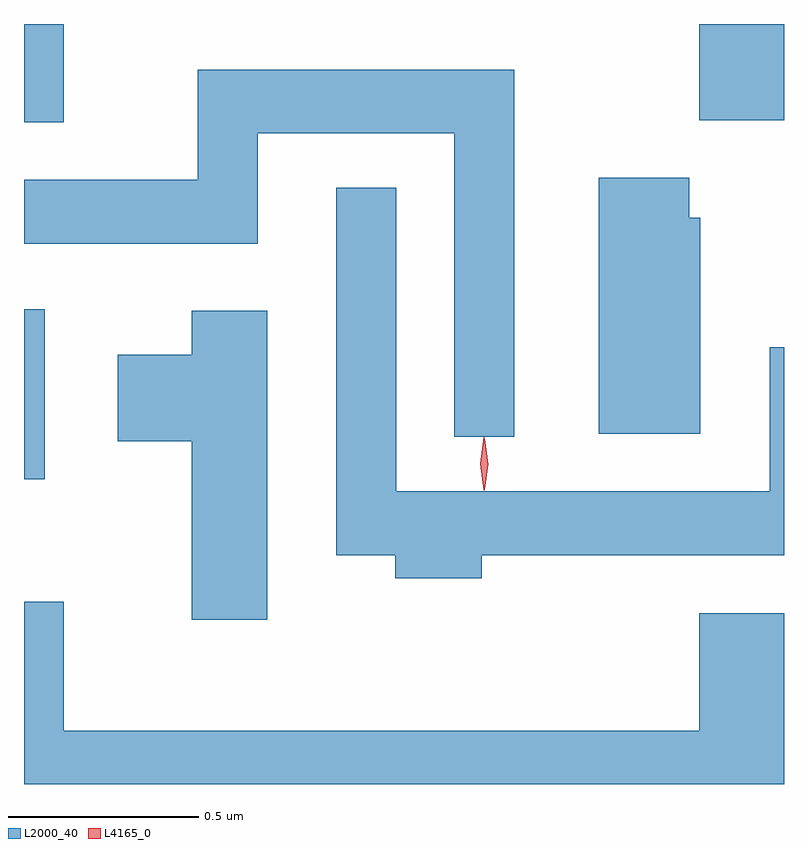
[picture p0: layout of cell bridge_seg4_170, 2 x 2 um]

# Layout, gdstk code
import gdstk
lib = gdstk.Library(unit=1e-6, precision=1e-09)
def R(c, l, rs):  # rectangles x0, y0, x1, y1
    for r in rs: c.add(gdstk.rectangle(r[:2], r[2:], *l))
def P(c, l, *ps):  # polygons
    for p in ps: c.add(gdstk.Polygon(p, *l))
L2000_40 = (2000, 40)
L4165_0 = (4165, 0)

bridge_seg4_170 = lib.new_cell('bridge_seg4_170')
R(bridge_seg4_170, L2000_40, [(791.314,1304.546,791.369,1304.994), (791.314,1305.486,791.419,1305.744), (793.091,1305.491,793.314,1305.744)])
P(bridge_seg4_170, L2000_40, [(792.604,1305.624),(791.771,1305.624),(791.771,1305.334),(791.314,1305.334),(791.314,1305.166),(791.929,1305.166),(791.929,1305.456),(792.446,1305.456),(792.446,1304.658),(792.604,1304.658)],
  [(793.094,1305.234),(793.064,1305.234),(793.064,1305.339),(792.826,1305.339),(792.826,1304.666),(793.094,1304.666)],
  [(792.519,1304.346),(793.314,1304.346),(793.314,1304.893),(793.276,1304.893),(793.276,1304.514),(792.294,1304.514),(792.294,1305.313),(792.136,1305.313),(792.136,1304.346),(792.291,1304.346),(792.291,1304.286),(792.519,1304.286)],
  [(791.954,1304.989),(791.756,1304.989),(791.756,1304.874),(791.561,1304.874),(791.561,1304.646),(791.756,1304.646),(791.756,1304.176),(791.954,1304.176)],
  [(793.314,1304.194),(793.091,1304.194),(793.091,1303.884),(791.419,1303.884),(791.419,1304.224),(791.314,1304.224),(791.314,1303.744),(793.314,1303.744)])
P(bridge_seg4_170, L4165_0, [(792.526,1304.519),(792.525,1304.52),(792.516,1304.586),(792.525,1304.652),(792.526,1304.653),(792.526,1304.652),(792.536,1304.586),(792.526,1304.52)],
  [(792.524,1304.517),(792.515,1304.587),(792.524,1304.656),(792.525,1304.656),(792.525,1304.656),(792.535,1304.587),(792.525,1304.517),(792.525,1304.517)])

lib.write_gds('bridge_seg4_170.gds')
